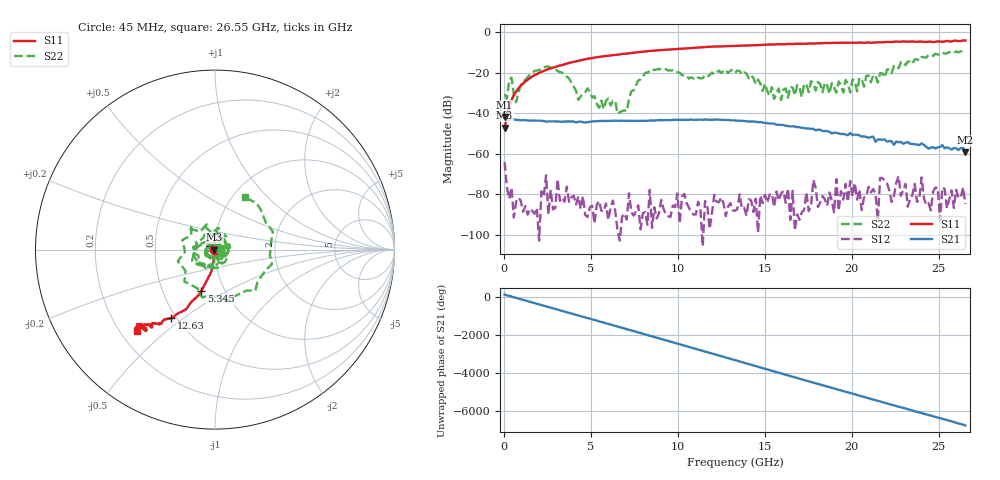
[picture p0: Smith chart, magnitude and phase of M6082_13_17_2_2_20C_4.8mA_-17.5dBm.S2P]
!  2-Port S-parameters saved by WinCal
! VAR NAME=M6082_13_17_2_2_20C_4.8mA_-17.5dBm
! VAR DATE=10/16/2015 2:04:51 PM
! VAR FILENAME=M6082_13_17_2_2_20C_4.8mA_-17.5dBm.S2P
! VAR MeasName=S-Parameters (CALIBRATED_DATA) read from VNA (C)
! VAR MeasDate=10/16/2015 2:03:17 PM
! VAR PHYS_PORTS=2,1
! VAR ObjTypeName=DATASET
! VAR IndexType=Frequency
# Hz S DB R 50
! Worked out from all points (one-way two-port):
!   201 points, 45 MHz to 26.55 GHz, reference 50 ohm
!   highest |S21| = -42.05 dB at 45 MHz (marker M1); lowest = -59.2 dB at 26.55 GHz (marker M2)
!   lowest |S11| = -47.1 dB at 45 MHz (marker M3), VSWR 1.01, Z = 49.6 - j0.0473 ohm
!   |S11| at or under -10 dB: start of sweep to 7.552 GHz
!   |S22| runs from -40.2 to -9.2 dB; largest |S21 - S12| = 0.0074
!   S11 on the Smith chart (normalised r, x): 45 MHz: 0.99, -0.00; 5.345 GHz: 0.78, -0.38; 12.63 GHz: 0.47, -0.45; 26.55 GHz: 0.27, -0.40
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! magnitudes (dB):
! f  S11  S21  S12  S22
! 45 MHz  -47.1  -42.0  -64.1  -30.5
! 310 MHz  -36.7  -43.4  -82.3  -23.3
! 707.5 MHz  -29.2  -43.2  -83.7  -34.5
! 2.297 GHz  -19.0  -43.8  -80.9  -17.2
! 2.43 GHz  -18.6  -44.1  -70.6  -16.9
! 2.562 GHz  -18.1  -44.0  -89.9  -16.8
! 3.092 GHz  -16.7  -44.0  -72.6  -19.1
! 4.55 GHz  -13.5  -44.3  -80.9  -30.4
! 5.345 GHz  -12.3  -43.9  -85.2  -35.4
! 7.067 GHz  -10.5  -43.6  -92.5  -39.0
! 7.73 GHz  -9.8  -43.7  -85.4  -23.7
! 8.922 GHz  -8.8  -43.3  -89.5  -18.0
! 12.63 GHz  -6.8  -43.3  -84.4  -19.2
! 13.29 GHz  -6.7  -43.5  -88.2  -20.0
! 15.95 GHz  -5.8  -45.8  -79.6  -33.4
! 17.8 GHz  -5.5  -47.6  -72.9  -25.2
! 20.32 GHz  -5.1  -50.6  -82.6  -29.2
! 22.17 GHz  -4.7  -53.7  -78.2  -18.3
! 23.89 GHz  -4.6  -55.7  -82.1  -13.9
! 24.03 GHz  -4.6  -54.8  -71.6  -12.1
! 24.16 GHz  -4.7  -55.6  -82.0  -12.3
! 26.55 GHz  -4.0  -59.2  -84.8  -9.5
